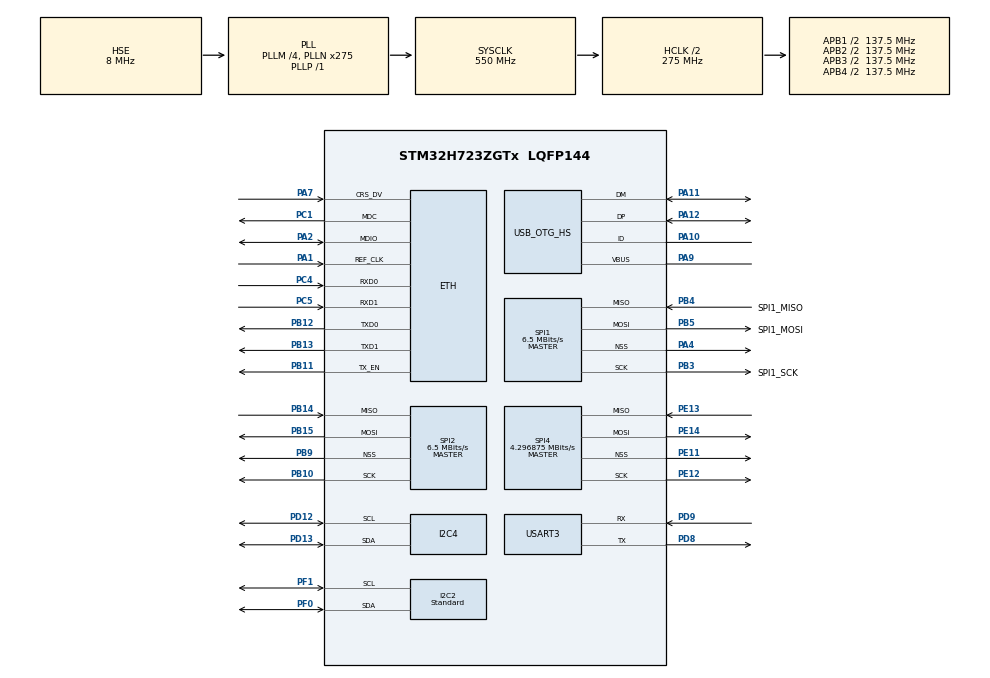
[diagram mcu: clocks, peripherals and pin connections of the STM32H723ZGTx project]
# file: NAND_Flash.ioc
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CORTEX_M7.CPU_DCache=Enabled
CORTEX_M7.CPU_ICache=Enabled
ETH.MediaInterface=HAL_ETH_RMII_MODE
I2C2.CustomTiming=Disabled
I2C2.I2C_Speed_Mode=I2C_Standard
I2C2.Timing=0x60404E72
I2C4.Timing=0x60404E72
Mcu.Family=STM32H7
Mcu.Name=STM32H723ZGTx
Mcu.Package=LQFP144
NVIC.I2C2_ER_IRQn=true\:0\:0\:false\:false\:true\:true\:true
NVIC.I2C2_EV_IRQn=true\:0\:0\:false\:false\:true\:true\:true
NVIC.I2C4_ER_IRQn=true\:0\:0\:false\:false\:true\:true\:true
NVIC.I2C4_EV_IRQn=true\:0\:0\:false\:false\:true\:true\:true
NVIC.PriorityGroup=NVIC_PRIORITYGROUP_4
NVIC.SPI1_IRQn=true\:0\:0\:false\:false\:true\:true\:true
NVIC.SPI2_IRQn=true\:0\:0\:false\:false\:true\:true\:true
NVIC.SPI4_IRQn=true\:0\:0\:false\:false\:true\:true\:true
PA1.Mode=RMII
PA1.Signal=ETH_REF_CLK
PA10.Mode=OTG/Dual-Role-Device-FS
PA10.Signal=USB_OTG_HS_ID
PA11.Mode=OTG/Dual-Role-Device-FS
PA11.Signal=USB_OTG_HS_DM
PA12.Mode=OTG/Dual-Role-Device-FS
PA12.Signal=USB_OTG_HS_DP
PA2.Mode=RMII
PA2.Signal=ETH_MDIO
PA4.GPIO_PuPd=GPIO_PULLUP
PA4.Mode=NSS_Signal_Hard_Output
PA4.Signal=SPI1_NSS
PA7.Mode=RMII
PA7.Signal=ETH_CRS_DV
PA9.Mode=Activate_VBUS_FS
PA9.Signal=USB_OTG_HS_VBUS
PB10.Mode=Full_Duplex_Master
PB10.Signal=SPI2_SCK
PB11.Mode=RMII
PB11.Signal=ETH_TX_EN
PB12.Mode=RMII
PB12.Signal=ETH_TXD0
PB13.Mode=RMII
PB13.Signal=ETH_TXD1
PB14.Mode=Full_Duplex_Master
PB14.Signal=SPI2_MISO
PB15.Mode=Full_Duplex_Master
PB15.Signal=SPI2_MOSI
PB3(JTDO/TRACESWO).GPIO_Label=SPI1_SCK
PB3(JTDO/TRACESWO).GPIO_PuPd=GPIO_PULLUP
PB3(JTDO/TRACESWO).GPIO_Speed=GPIO_SPEED_FREQ_VERY_HIGH
PB3(JTDO/TRACESWO).Mode=Full_Duplex_Master
PB3(JTDO/TRACESWO).Signal=SPI1_SCK
PB4(NJTRST).GPIO_Label=SPI1_MISO
PB4(NJTRST).GPIO_PuPd=GPIO_NOPULL
PB4(NJTRST).GPIO_Speed=GPIO_SPEED_FREQ_VERY_HIGH
PB4(NJTRST).Mode=Full_Duplex_Master
PB4(NJTRST).Signal=SPI1_MISO
PB5.GPIO_Label=SPI1_MOSI
PB5.GPIO_PuPd=GPIO_NOPULL
PB5.GPIO_Speed=GPIO_SPEED_FREQ_VERY_HIGH
PB5.Mode=Full_Duplex_Master
PB5.Signal=SPI1_MOSI
PB9.Mode=NSS_Signal_Hard_Output
PB9.Signal=SPI2_NSS
PC1.Mode=RMII
PC1.Signal=ETH_MDC
PC14-OSC32_IN.Mode=LSE-External-Oscillator
PC14-OSC32_IN.Signal=RCC_OSC32_IN
PC15-OSC32_OUT.Mode=LSE-External-Oscillator
PC15-OSC32_OUT.Signal=RCC_OSC32_OUT
PC4.Mode=RMII
PC4.Signal=ETH_RXD0
PC5.Mode=RMII
PC5.Signal=ETH_RXD1
PD12.Mode=I2C
PD12.Signal=I2C4_SCL
PD13.Mode=I2C
PD13.Signal=I2C4_SDA
PD8.Mode=Asynchronous
PD8.Signal=USART3_TX
PD9.Mode=Asynchronous
PD9.Signal=USART3_RX
PE11.Mode=NSS_Signal_Hard_Output
PE11.Signal=SPI4_NSS
PE12.Mode=Full_Duplex_Master
PE12.Signal=SPI4_SCK
PE13.Mode=Full_Duplex_Master
PE13.Signal=SPI4_MISO
PE14.Mode=Full_Duplex_Master
PE14.Signal=SPI4_MOSI
PF0.Mode=I2C
PF0.Signal=I2C2_SDA
PF1.Mode=I2C
PF1.Signal=I2C2_SCL
PH0-OSC_IN.Mode=HSE-External-Clock-Source
PH0-OSC_IN.Signal=RCC_OSC_IN
ProjectManager.HeapSize=0x200
ProjectManager.StackSize=0x400
ProjectManager.TargetToolchain=STM32CubeIDE
RCC.ADCFreq_Value=208000000
RCC.APB1Freq_Value=137500000
RCC.APB2Freq_Value=137500000
RCC.APB3Freq_Value=137500000
RCC.APB4Freq_Value=137500000
RCC.CortexFreq_Value=550000000
RCC.D1PPRE=RCC_APB3_DIV2
RCC.D2PPRE1=RCC_APB1_DIV2
RCC.D2PPRE2=RCC_APB2_DIV2
RCC.D3PPRE=RCC_APB4_DIV2
RCC.DIVM1=4
RCC.DIVM2=4
RCC.DIVN1=275
RCC.DIVN2=104
RCC.DIVP1=1
RCC.DIVP2=1
RCC.DIVQ1=5
RCC.HCLKFreq_Value=275000000
RCC.HPRE=RCC_HCLK_DIV2
RCC.HSE_VALUE=8000000
RCC.PLLSourceVirtual=RCC_PLLSOURCE_HSE
RCC.SPI123CLockSelection=RCC_SPI123CLKSOURCE_PLL2
RCC.SYSCLKFreq_VALUE=550000000
RCC.SYSCLKSource=RCC_SYSCLKSOURCE_PLLCLK
RCC.USBCLockSelection=RCC_USBCLKSOURCE_HSI48
RCC.USBFreq_Value=48000000
SPI1.BaudRatePrescaler=SPI_BAUDRATEPRESCALER_32
SPI1.CLKPhase=SPI_PHASE_2EDGE
SPI1.CLKPolarity=SPI_POLARITY_HIGH
SPI1.CRCCalculation=SPI_CRCCALCULATION_DISABLE
SPI1.CalculateBaudRate=6.5 MBits/s
SPI1.DataSize=SPI_DATASIZE_8BIT
SPI1.Direction=SPI_DIRECTION_2LINES
SPI1.FifoThreshold=SPI_FIFO_THRESHOLD_16DATA
SPI1.MasterInterDataIdleness=SPI_MASTER_INTERDATA_IDLENESS_00CYCLE
SPI1.MasterSSIdleness=SPI_MASTER_SS_IDLENESS_00CYCLE
SPI1.Mode=SPI_MODE_MASTER
SPI1.RxCRCInitializationPattern=SPI_CRC_INITIALIZATION_ALL_ZERO_PATTERN
SPI1.TxCRCInitializationPattern=SPI_CRC_INITIALIZATION_ALL_ZERO_PATTERN
SPI1.VirtualNSS=VM_NSSHARD
SPI1.VirtualType=VM_MASTER
SPI2.BaudRatePrescaler=SPI_BAUDRATEPRESCALER_32
SPI2.CLKPhase=SPI_PHASE_2EDGE
SPI2.CLKPolarity=SPI_POLARITY_HIGH
SPI2.CalculateBaudRate=6.5 MBits/s
SPI2.DataSize=SPI_DATASIZE_8BIT
SPI2.Direction=SPI_DIRECTION_2LINES
SPI2.FifoThreshold=SPI_FIFO_THRESHOLD_16DATA
SPI2.Mode=SPI_MODE_MASTER
SPI2.RxCRCInitializationPattern=SPI_CRC_INITIALIZATION_ALL_ONE_PATTERN
SPI2.TxCRCInitializationPattern=SPI_CRC_INITIALIZATION_ALL_ONE_PATTERN
SPI2.VirtualNSS=VM_NSSHARD
SPI2.VirtualType=VM_MASTER
SPI4.BaudRatePrescaler=SPI_BAUDRATEPRESCALER_32
SPI4.CLKPhase=SPI_PHASE_2EDGE
SPI4.CLKPolarity=SPI_POLARITY_HIGH
SPI4.CalculateBaudRate=4.296875 MBits/s
SPI4.DataSize=SPI_DATASIZE_8BIT
SPI4.Direction=SPI_DIRECTION_2LINES
SPI4.FifoThreshold=SPI_FIFO_THRESHOLD_08DATA
SPI4.Mode=SPI_MODE_MASTER
SPI4.RxCRCInitializationPattern=SPI_CRC_INITIALIZATION_ALL_ONE_PATTERN
SPI4.TxCRCInitializationPattern=SPI_CRC_INITIALIZATION_ALL_ONE_PATTERN
SPI4.VirtualNSS=VM_NSSHARD
SPI4.VirtualType=VM_MASTER
USART3.VirtualMode-Asynchronous=VM_ASYNC
board=NUCLEO-H723ZG

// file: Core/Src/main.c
/* USER CODE BEGIN Header */
/**
  ******************************************************************************
  * @file           : main.c
  * @brief          : Main program body
  ******************************************************************************
  * @attention
  *
  * Copyright (c) 2022 STMicroelectronics.
  * All rights reserved.
  *
  * This software is licensed under terms that can be found in the LICENSE file
  * in the root directory of this software component.
  * If no LICENSE file comes with this software, it is provided AS-IS.
  *
  ******************************************************************************
  */
/* USER CODE END Header */
#include "main.h"
#include "string.h"

/* USER CODE BEGIN Includes */
#include "string.h"
#include "stdio.h"
#include "stdint.h"
#include "NAND_Flash.h"
/* USER CODE END Includes */

#if defined ( __ICCARM__ ) /*!< IAR Compiler */

#pragma location=0x30000000
ETH_DMADescTypeDef  DMARxDscrTab[ETH_RX_DESC_CNT]; /* Ethernet Rx DMA Descriptors */
#pragma location=0x30000060
ETH_DMADescTypeDef  DMATxDscrTab[ETH_TX_DESC_CNT]; /* Ethernet Tx DMA Descriptors */
#pragma location=0x300000c0
uint8_t Rx_Buff[ETH_RX_DESC_CNT][ETH_MAX_PACKET_SIZE]; /* Ethernet Receive Buffers */

#elif defined ( __CC_ARM )  /* MDK ARM Compiler */

__attribute__((at(0x30000000))) ETH_DMADescTypeDef  DMARxDscrTab[ETH_RX_DESC_CNT]; /* Ethernet Rx DMA Descriptors */
__attribute__((at(0x30000060))) ETH_DMADescTypeDef  DMATxDscrTab[ETH_TX_DESC_CNT]; /* Ethernet Tx DMA Descriptors */
__attribute__((at(0x300000c0))) uint8_t Rx_Buff[ETH_RX_DESC_CNT][ETH_MAX_PACKET_SIZE]; /* Ethernet Receive Buffer */

#elif defined ( __GNUC__ ) /* GNU Compiler */

ETH_DMADescTypeDef DMARxDscrTab[ETH_RX_DESC_CNT] __attribute__((section(".RxDecripSection"))); /* Ethernet Rx DMA Descriptors */
ETH_DMADescTypeDef DMATxDscrTab[ETH_TX_DESC_CNT] __attribute__((section(".TxDecripSection")));   /* Ethernet Tx DMA Descriptors */
uint8_t Rx_Buff[ETH_RX_DESC_CNT][ETH_MAX_PACKET_SIZE] __attribute__((section(".RxArraySection"))); /* Ethernet Receive Buffers */

#endif

ETH_TxPacketConfig TxConfig;

ETH_HandleTypeDef heth;

I2C_HandleTypeDef hi2c2;
I2C_HandleTypeDef hi2c4;

SPI_HandleTypeDef hspi1;
SPI_HandleTypeDef hspi2;
SPI_HandleTypeDef hspi4;

UART_HandleTypeDef huart3;

void SystemClock_Config(void);
void PeriphCommonClock_Config(void);
static void MX_GPIO_Init(void);
static void MX_I2C2_Init(void);
static void MX_SPI1_Init(void);
static void MX_USART3_UART_Init(void);
static void MX_USB_OTG_HS_USB_Init(void);
static void MX_ETH_Init(void);
static void MX_SPI2_Init(void);
static void MX_SPI4_Init(void);
static void MX_I2C4_Init(void);

int main(void)
{

  /* Enable I-Cache---------------------------------------------------------*/
  SCB_EnableICache();

  /* Enable D-Cache---------------------------------------------------------*/
  SCB_EnableDCache();

  /* MCU Configuration--------------------------------------------------------*/

  /* Reset of all peripherals, Initializes the Flash interface and the Systick. */
  HAL_Init();

  /* Configure the system clock */
  SystemClock_Config();

/* Configure the peripherals common clocks */
  PeriphCommonClock_Config();

  /* Initialize all configured peripherals */
  MX_GPIO_Init();
  MX_I2C2_Init();
  MX_SPI1_Init();
  MX_USART3_UART_Init();
  MX_USB_OTG_HS_USB_Init();
  MX_ETH_Init();
  MX_SPI2_Init();
  MX_SPI4_Init();
  MX_I2C4_Init();
  /* USER CODE BEGIN 2 */
  uint8_t Datain[12] = {0};
  uint8_t Dataout[12] = {0};
  char str[80] = {0};
  Dataout[0] = READ_ID;
  /* USER CODE END 2 */

  /* Infinite loop */
  /* USER CODE BEGIN WHILE */
  while (1)
  {
	  Dataout[0] = 0x9F;
	  Dataout[1] = 0x00;
	  HAL_SPI_TransmitReceive(&hspi4,Dataout,Datain,4,10);
	  HAL_I2C_Master_Transmit(&hi2c2, Dataout[0],
			  Dataout, 1, 100);
	  HAL_I2C_Master_Transmit(&hi2c4, Dataout[0],
			  Dataout, 1, 100);

	  HAL_UART_Transmit(&huart3, (uint8_t*)str, sprintf(str, "Reset device \r\n"), 100);
	  Dataout[0] = RESET;
	  HAL_SPI_TransmitReceive(&hspi1,Dataout,Datain,1,10);
	  HAL_Delay(10);
	  memset(Datain, 0, 12);
	  memset(Dataout, 0, 12);

	  HAL_UART_Transmit(&huart3, (uint8_t*)str, sprintf(str, "Starting transfer \r\n"), 100);
	  Dataout[0] = SET_FEATURES;
	  Dataout[1] = SET_FEATURE_ADDR;
	  Dataout[2] = ID_LOC;
	  HAL_SPI_TransmitReceive(&hspi1,Dataout,Datain,3,10);
	  memset(Datain, 0, 12);
	  memset(Dataout, 0, 12);

	  Dataout[0] = PAGE_READ;
	  Dataout[1] = UID1;
	  Dataout[2] = UID2;
	  HAL_SPI_TransmitReceive(&hspi1,Dataout,Datain,3,10);
	  memset(Datain, 0, 12);
	  memset(Dataout, 0, 12);

	  while((Dataout[2]&0b1) == 1){
		  Dataout[0] = GET_FEATURE;
		  Dataout[1] = OIP_BIT;
		  HAL_SPI_TransmitReceive(&hspi1,Dataout,Datain,3,10);
		  HAL_UART_Transmit(&huart3, (uint8_t*)str, sprintf(str, "OIP status %X %X\r\n",Datain[1], Datain[2]), 100);
	  }
	  memset(Datain, 0, 12);
	  memset(Dataout, 0, 12);

	  Dataout[0] = READ_BUF;
	  HAL_SPI_TransmitReceive(&hspi1,Dataout,Datain,6,10);
	  HAL_UART_Transmit(&huart3, (uint8_t*)str, sprintf(str, "Device ID %X %X\r\n",Datain[4], Datain[5]), 100);

	  HAL_UART_Transmit(&huart3, (uint8_t*)str, sprintf(str, "Reset device \r\n"), 100);
	  Dataout[0] = RESET;
	  HAL_SPI_TransmitReceive(&hspi1,Dataout,Datain,1,10);
	  HAL_Delay(10);
    /* USER CODE END WHILE */

    /* USER CODE BEGIN 3 */
	  Dataout[0] = READ_ID;
	  HAL_SPI_TransmitReceive(&hspi1,Dataout,Datain,5,10);
	  HAL_Delay(2000);
  }
  /* USER CODE END 3 */
}

void SystemClock_Config(void)
{
  RCC_OscInitTypeDef RCC_OscInitStruct = {0};
  RCC_ClkInitTypeDef RCC_ClkInitStruct = {0};

  /** Supply configuration update enable
  */
  HAL_PWREx_ConfigSupply(PWR_LDO_SUPPLY);
  /** Configure the main internal regulator output voltage
  */
  __HAL_PWR_VOLTAGESCALING_CONFIG(PWR_REGULATOR_VOLTAGE_SCALE0);

  while(!__HAL_PWR_GET_FLAG(PWR_FLAG_VOSRDY)) {}
  /** Macro to configure the PLL clock source
  */
  __HAL_RCC_PLL_PLLSOURCE_CONFIG(RCC_PLLSOURCE_HSE);
  /** Initializes the RCC Oscillators according to the specified parameters
  * in the RCC_OscInitTypeDef structure.
  */
  RCC_OscInitStruct.OscillatorType = RCC_OSCILLATORTYPE_HSI48|RCC_OSCILLATORTYPE_HSE;
  RCC_OscInitStruct.HSEState = RCC_HSE_BYPASS;
  RCC_OscInitStruct.HSI48State = RCC_HSI48_ON;
  RCC_OscInitStruct.PLL.PLLState = RCC_PLL_ON;
  RCC_OscInitStruct.PLL.PLLSource = RCC_PLLSOURCE_HSE;
  RCC_OscInitStruct.PLL.PLLM = 4;
  RCC_OscInitStruct.PLL.PLLN = 275;
  RCC_OscInitStruct.PLL.PLLP = 1;
  RCC_OscInitStruct.PLL.PLLQ = 5;
  RCC_OscInitStruct.PLL.PLLR = 2;
  RCC_OscInitStruct.PLL.PLLRGE = RCC_PLL1VCIRANGE_1;
  RCC_OscInitStruct.PLL.PLLVCOSEL = RCC_PLL1VCOWIDE;
  RCC_OscInitStruct.PLL.PLLFRACN = 0;
  if (HAL_RCC_OscConfig(&RCC_OscInitStruct) != HAL_OK)
  {
    Error_Handler();
  }
  /** Initializes the CPU, AHB and APB buses clocks
  */
  RCC_ClkInitStruct.ClockType = RCC_CLOCKTYPE_HCLK|RCC_CLOCKTYPE_SYSCLK
                              |RCC_CLOCKTYPE_PCLK1|RCC_CLOCKTYPE_PCLK2
                              |RCC_CLOCKTYPE_D3PCLK1|RCC_CLOCKTYPE_D1PCLK1;
  RCC_ClkInitStruct.SYSCLKSource = RCC_SYSCLKSOURCE_PLLCLK;
  RCC_ClkInitStruct.SYSCLKDivider = RCC_SYSCLK_DIV1;
  RCC_ClkInitStruct.AHBCLKDivider = RCC_HCLK_DIV2;
  RCC_ClkInitStruct.APB3CLKDivider = RCC_APB3_DIV2;
  RCC_ClkInitStruct.APB1CLKDivider = RCC_APB1_DIV2;
  RCC_ClkInitStruct.APB2CLKDivider = RCC_APB2_DIV2;
  RCC_ClkInitStruct.APB4CLKDivider = RCC_APB4_DIV2;

  if (HAL_RCC_ClockConfig(&RCC_ClkInitStruct, FLASH_LATENCY_3) != HAL_OK)
  {
    Error_Handler();
  }
}

void PeriphCommonClock_Config(void)
{
  RCC_PeriphCLKInitTypeDef PeriphClkInitStruct = {0};

  /** Initializes the peripherals clock
  */
  PeriphClkInitStruct.PeriphClockSelection = RCC_PERIPHCLK_SPI2|RCC_PERIPHCLK_SPI1;
  PeriphClkInitStruct.PLL2.PLL2M = 4;
  PeriphClkInitStruct.PLL2.PLL2N = 104;
  PeriphClkInitStruct.PLL2.PLL2P = 1;
  PeriphClkInitStruct.PLL2.PLL2Q = 2;
  PeriphClkInitStruct.PLL2.PLL2R = 2;
  PeriphClkInitStruct.PLL2.PLL2RGE = RCC_PLL2VCIRANGE_1;
  PeriphClkInitStruct.PLL2.PLL2VCOSEL = RCC_PLL2VCOWIDE;
  PeriphClkInitStruct.PLL2.PLL2FRACN = 0;
  PeriphClkInitStruct.Spi123ClockSelection = RCC_SPI123CLKSOURCE_PLL2;
  if (HAL_RCCEx_PeriphCLKConfig(&PeriphClkInitStruct) != HAL_OK)
  {
    Error_Handler();
  }
}

static void MX_ETH_Init(void)
{

   static uint8_t MACAddr[6];

  heth.Instance = ETH;
  MACAddr[0] = 0x00;
  MACAddr[1] = 0x80;
  MACAddr[2] = 0xE1;
  MACAddr[3] = 0x00;
  MACAddr[4] = 0x00;
  MACAddr[5] = 0x00;
  heth.Init.MACAddr = &MACAddr[0];
  heth.Init.MediaInterface = HAL_ETH_RMII_MODE;
  heth.Init.TxDesc = DMATxDscrTab;
  heth.Init.RxDesc = DMARxDscrTab;
  heth.Init.RxBuffLen = 1524;

  if (HAL_ETH_Init(&heth) != HAL_OK)
  {
    Error_Handler();
  }

  memset(&TxConfig, 0 , sizeof(ETH_TxPacketConfig));
  TxConfig.Attributes = ETH_TX_PACKETS_FEATURES_CSUM | ETH_TX_PACKETS_FEATURES_CRCPAD;
  TxConfig.ChecksumCtrl = ETH_CHECKSUM_IPHDR_PAYLOAD_INSERT_PHDR_CALC;
  TxConfig.CRCPadCtrl = ETH_CRC_PAD_INSERT;

}

static void MX_I2C2_Init(void)
{

  hi2c2.Instance = I2C2;
  hi2c2.Init.Timing = 0x60404E72;
  hi2c2.Init.OwnAddress1 = 0;
  hi2c2.Init.AddressingMode = I2C_ADDRESSINGMODE_7BIT;
  hi2c2.Init.DualAddressMode = I2C_DUALADDRESS_DISABLE;
  hi2c2.Init.OwnAddress2 = 0;
  hi2c2.Init.OwnAddress2Masks = I2C_OA2_NOMASK;
  hi2c2.Init.GeneralCallMode = I2C_GENERALCALL_DISABLE;
  hi2c2.Init.NoStretchMode = I2C_NOSTRETCH_DISABLE;
  if (HAL_I2C_Init(&hi2c2) != HAL_OK)
  {
    Error_Handler();
  }
  /** Configure Analogue filter
  */
  if (HAL_I2CEx_ConfigAnalogFilter(&hi2c2, I2C_ANALOGFILTER_ENABLE) != HAL_OK)
  {
    Error_Handler();
  }
  /** Configure Digital filter
  */
  if (HAL_I2CEx_ConfigDigitalFilter(&hi2c2, 0) != HAL_OK)
  {
    Error_Handler();
  }

}

static void MX_I2C4_Init(void)
{

  hi2c4.Instance = I2C4;
  hi2c4.Init.Timing = 0x60404E72;
  hi2c4.Init.OwnAddress1 = 0;
  hi2c4.Init.AddressingMode = I2C_ADDRESSINGMODE_7BIT;
  hi2c4.Init.DualAddressMode = I2C_DUALADDRESS_DISABLE;
  hi2c4.Init.OwnAddress2 = 0;
  hi2c4.Init.OwnAddress2Masks = I2C_OA2_NOMASK;
  hi2c4.Init.GeneralCallMode = I2C_GENERALCALL_DISABLE;
  hi2c4.Init.NoStretchMode = I2C_NOSTRETCH_DISABLE;
  if (HAL_I2C_Init(&hi2c4) != HAL_OK)
  {
    Error_Handler();
  }
  /** Configure Analogue filter
  */
  if (HAL_I2CEx_ConfigAnalogFilter(&hi2c4, I2C_ANALOGFILTER_ENABLE) != HAL_OK)
  {
    Error_Handler();
  }
  /** Configure Digital filter
  */
  if (HAL_I2CEx_ConfigDigitalFilter(&hi2c4, 0) != HAL_OK)
  {
    Error_Handler();
  }

}

static void MX_SPI1_Init(void)
{

  /* SPI1 parameter configuration*/
  hspi1.Instance = SPI1;
  hspi1.Init.Mode = SPI_MODE_MASTER;
  hspi1.Init.Direction = SPI_DIRECTION_2LINES;
  hspi1.Init.DataSize = SPI_DATASIZE_8BIT;
  hspi1.Init.CLKPolarity = SPI_POLARITY_HIGH;
  hspi1.Init.CLKPhase = SPI_PHASE_2EDGE;
  hspi1.Init.NSS = SPI_NSS_HARD_OUTPUT;
  hspi1.Init.BaudRatePrescaler = SPI_BAUDRATEPRESCALER_32;
  hspi1.Init.FirstBit = SPI_FIRSTBIT_MSB;
  hspi1.Init.TIMode = SPI_TIMODE_DISABLE;
  hspi1.Init.CRCCalculation = SPI_CRCCALCULATION_DISABLE;
  hspi1.Init.CRCPolynomial = 0x0;
  hspi1.Init.NSSPMode = SPI_NSS_PULSE_ENABLE;
  hspi1.Init.NSSPolarity = SPI_NSS_POLARITY_LOW;
  hspi1.Init.FifoThreshold = SPI_FIFO_THRESHOLD_16DATA;
  hspi1.Init.TxCRCInitializationPattern = SPI_CRC_INITIALIZATION_ALL_ZERO_PATTERN;
  hspi1.Init.RxCRCInitializationPattern = SPI_CRC_INITIALIZATION_ALL_ZERO_PATTERN;
  hspi1.Init.MasterSSIdleness = SPI_MASTER_SS_IDLENESS_00CYCLE;
  hspi1.Init.MasterInterDataIdleness = SPI_MASTER_INTERDATA_IDLENESS_00CYCLE;
  hspi1.Init.MasterReceiverAutoSusp = SPI_MASTER_RX_AUTOSUSP_DISABLE;
  hspi1.Init.MasterKeepIOState = SPI_MASTER_KEEP_IO_STATE_DISABLE;
  hspi1.Init.IOSwap = SPI_IO_SWAP_DISABLE;
  if (HAL_SPI_Init(&hspi1) != HAL_OK)
  {
    Error_Handler();
  }

}

static void MX_SPI2_Init(void)
{

  /* SPI2 parameter configuration*/
  hspi2.Instance = SPI2;
  hspi2.Init.Mode = SPI_MODE_MASTER;
  hspi2.Init.Direction = SPI_DIRECTION_2LINES;
  hspi2.Init.DataSize = SPI_DATASIZE_8BIT;
  hspi2.Init.CLKPolarity = SPI_POLARITY_HIGH;
  hspi2.Init.CLKPhase = SPI_PHASE_2EDGE;
  hspi2.Init.NSS = SPI_NSS_HARD_OUTPUT;
  hspi2.Init.BaudRatePrescaler = SPI_BAUDRATEPRESCALER_32;
  hspi2.Init.FirstBit = SPI_FIRSTBIT_MSB;
  hspi2.Init.TIMode = SPI_TIMODE_DISABLE;
  hspi2.Init.CRCCalculation = SPI_CRCCALCULATION_DISABLE;
  hspi2.Init.CRCPolynomial = 0x0;
  hspi2.Init.NSSPMode = SPI_NSS_PULSE_ENABLE;
  hspi2.Init.NSSPolarity = SPI_NSS_POLARITY_LOW;
  hspi2.Init.FifoThreshold = SPI_FIFO_THRESHOLD_16DATA;
  hspi2.Init.TxCRCInitializationPattern = SPI_CRC_INITIALIZATION_ALL_ONE_PATTERN;
  hspi2.Init.RxCRCInitializationPattern = SPI_CRC_INITIALIZATION_ALL_ONE_PATTERN;
  hspi2.Init.MasterSSIdleness = SPI_MASTER_SS_IDLENESS_00CYCLE;
  hspi2.Init.MasterInterDataIdleness = SPI_MASTER_INTERDATA_IDLENESS_00CYCLE;
  hspi2.Init.MasterReceiverAutoSusp = SPI_MASTER_RX_AUTOSUSP_DISABLE;
  hspi2.Init.MasterKeepIOState = SPI_MASTER_KEEP_IO_STATE_DISABLE;
  hspi2.Init.IOSwap = SPI_IO_SWAP_DISABLE;
  if (HAL_SPI_Init(&hspi2) != HAL_OK)
  {
    Error_Handler();
  }

}

static void MX_SPI4_Init(void)
{

  /* SPI4 parameter configuration*/
  hspi4.Instance = SPI4;
  hspi4.Init.Mode = SPI_MODE_MASTER;
  hspi4.Init.Direction = SPI_DIRECTION_2LINES;
  hspi4.Init.DataSize = SPI_DATASIZE_8BIT;
  hspi4.Init.CLKPolarity = SPI_POLARITY_HIGH;
  hspi4.Init.CLKPhase = SPI_PHASE_2EDGE;
  hspi4.Init.NSS = SPI_NSS_HARD_OUTPUT;
  hspi4.Init.BaudRatePrescaler = SPI_BAUDRATEPRESCALER_32;
  hspi4.Init.FirstBit = SPI_FIRSTBIT_MSB;
  hspi4.Init.TIMode = SPI_TIMODE_DISABLE;
  hspi4.Init.CRCCalculation = SPI_CRCCALCULATION_DISABLE;
  hspi4.Init.CRCPolynomial = 0x0;
  hspi4.Init.NSSPMode = SPI_NSS_PULSE_ENABLE;
  hspi4.Init.NSSPolarity = SPI_NSS_POLARITY_LOW;
  hspi4.Init.FifoThreshold = SPI_FIFO_THRESHOLD_08DATA;
  hspi4.Init.TxCRCInitializationPattern = SPI_CRC_INITIALIZATION_ALL_ONE_PATTERN;
  hspi4.Init.RxCRCInitializationPattern = SPI_CRC_INITIALIZATION_ALL_ONE_PATTERN;
  hspi4.Init.MasterSSIdleness = SPI_MASTER_SS_IDLENESS_00CYCLE;
  hspi4.Init.MasterInterDataIdleness = SPI_MASTER_INTERDATA_IDLENESS_00CYCLE;
  hspi4.Init.MasterReceiverAutoSusp = SPI_MASTER_RX_AUTOSUSP_DISABLE;
  hspi4.Init.MasterKeepIOState = SPI_MASTER_KEEP_IO_STATE_DISABLE;
  hspi4.Init.IOSwap = SPI_IO_SWAP_DISABLE;
  if (HAL_SPI_Init(&hspi4) != HAL_OK)
  {
    Error_Handler();
  }

}

static void MX_USART3_UART_Init(void)
{

  huart3.Instance = USART3;
  huart3.Init.BaudRate = 115200;
  huart3.Init.WordLength = UART_WORDLENGTH_8B;
  huart3.Init.StopBits = UART_STOPBITS_1;
  huart3.Init.Parity = UART_PARITY_NONE;
  huart3.Init.Mode = UART_MODE_TX_RX;
  huart3.Init.HwFlowCtl = UART_HWCONTROL_NONE;
  huart3.Init.OverSampling = UART_OVERSAMPLING_16;
  huart3.Init.OneBitSampling = UART_ONE_BIT_SAMPLE_DISABLE;
  huart3.Init.ClockPrescaler = UART_PRESCALER_DIV1;
  huart3.AdvancedInit.AdvFeatureInit = UART_ADVFEATURE_NO_INIT;
  if (HAL_UART_Init(&huart3) != HAL_OK)
  {
    Error_Handler();
  }
  if (HAL_UARTEx_SetTxFifoThreshold(&huart3, UART_TXFIFO_THRESHOLD_1_8) != HAL_OK)
  {
    Error_Handler();
  }
  if (HAL_UARTEx_SetRxFifoThreshold(&huart3, UART_RXFIFO_THRESHOLD_1_8) != HAL_OK)
  {
    Error_Handler();
  }
  if (HAL_UARTEx_DisableFifoMode(&huart3) != HAL_OK)
  {
    Error_Handler();
  }

}

static void MX_USB_OTG_HS_USB_Init(void)
{

}

static void MX_GPIO_Init(void)
{
  GPIO_InitTypeDef GPIO_InitStruct = {0};

  /* GPIO Ports Clock Enable */
  __HAL_RCC_GPIOC_CLK_ENABLE();
  __HAL_RCC_GPIOF_CLK_ENABLE();
  __HAL_RCC_GPIOH_CLK_ENABLE();
  __HAL_RCC_GPIOA_CLK_ENABLE();
  __HAL_RCC_GPIOE_CLK_ENABLE();
  __HAL_RCC_GPIOB_CLK_ENABLE();
  __HAL_RCC_GPIOD_CLK_ENABLE();

  /*Configure GPIO pin : PA9 */
  GPIO_InitStruct.Pin = GPIO_PIN_9;
  GPIO_InitStruct.Mode = GPIO_MODE_INPUT;
  GPIO_InitStruct.Pull = GPIO_NOPULL;
  HAL_GPIO_Init(GPIOA, &GPIO_InitStruct);

  /*Configure GPIO pin : PA10 */
  GPIO_InitStruct.Pin = GPIO_PIN_10;
  GPIO_InitStruct.Mode = GPIO_MODE_AF_PP;
  GPIO_InitStruct.Pull = GPIO_NOPULL;
  GPIO_InitStruct.Speed = GPIO_SPEED_FREQ_LOW;
  GPIO_InitStruct.Alternate = GPIO_AF10_OTG1_HS;
  HAL_GPIO_Init(GPIOA, &GPIO_InitStruct);

}

void Error_Handler(void)
{
  __disable_irq();
  while (1)
  {
  }
}
